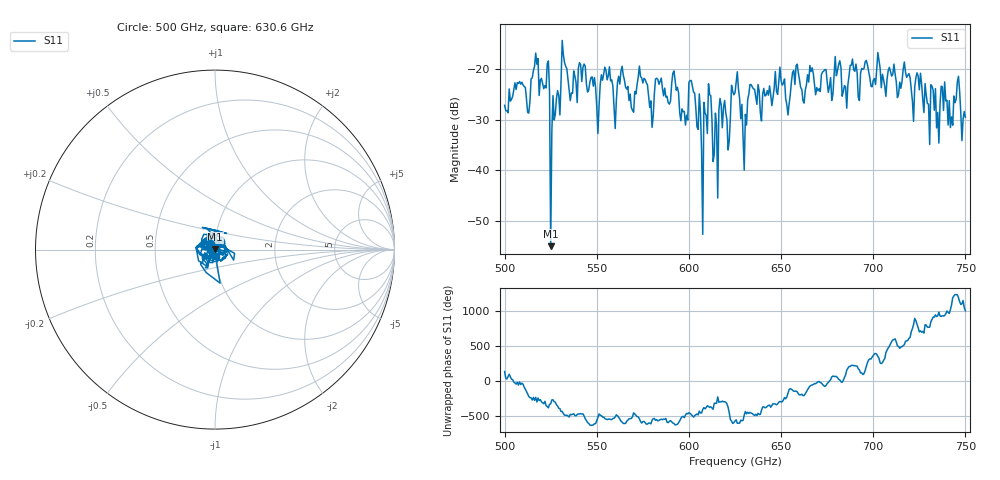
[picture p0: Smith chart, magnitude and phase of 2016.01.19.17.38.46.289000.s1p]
!Created with skrf (http://scikit-rf.org).
# GHz S RI R 50.0
!freq ReS11 ImS11
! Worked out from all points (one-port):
!   401 points, 500 GHz to 750 GHz, reference 50 ohm
!   lowest |S11| = -54.9 dB at 525 GHz (marker M1), VSWR 1.00, Z = 50.2 + j0.0834 ohm
!   |S11| at or under -10 dB: start of sweep to end of sweep
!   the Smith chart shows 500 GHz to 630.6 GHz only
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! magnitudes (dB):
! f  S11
! 500 GHz  -27.2
! 512.5 GHz  -28.6
! 516.9 GHz  -16.9
! 523.1 GHz  -19.1
! 525 GHz  -54.9
! 526.2 GHz  -25.3
! 531.2 GHz  -14.5
! 550.6 GHz  -32.7
! 553.8 GHz  -21.1
! 560 GHz  -31.8
! 562.5 GHz  -23.0
! 568.8 GHz  -27.7
! 573.1 GHz  -19.5
! 579.4 GHz  -26.3
! 583.1 GHz  -22.1
! 593.8 GHz  -23.7
! 598.1 GHz  -31.1
! 601.9 GHz  -23.4
! 606.2 GHz  -28.5
! 611.2 GHz  -25.1
! 614.4 GHz  -28.7
! 625 GHz  -24.8
! 630 GHz  -40.0
! 633.8 GHz  -23.2
! 656.2 GHz  -20.7
! 687.5 GHz  -19.4
! 718.8 GHz  -21.3
! 750 GHz  -29.5
